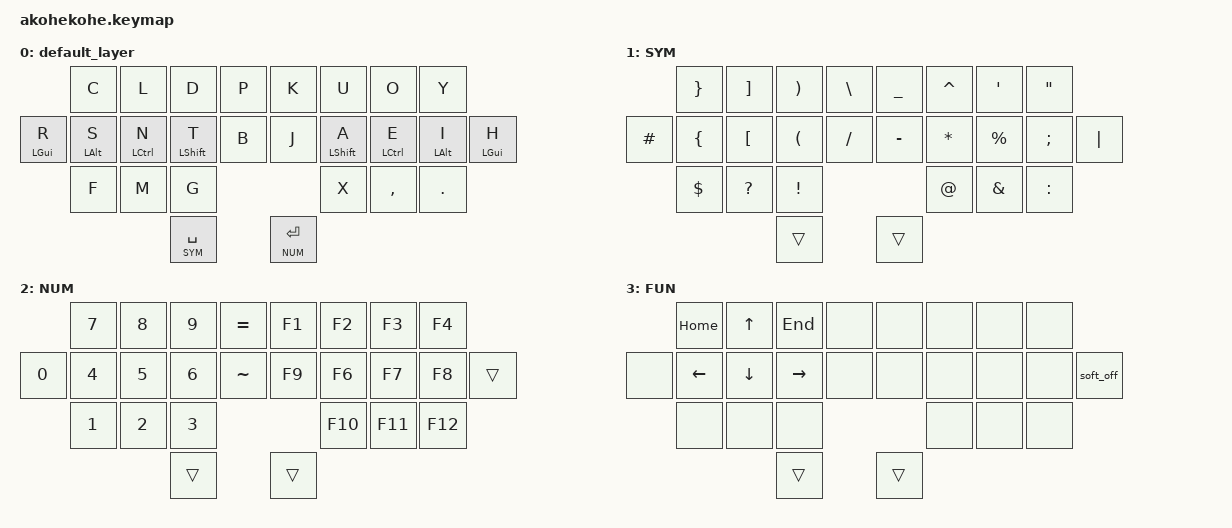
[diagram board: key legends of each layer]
#include <behaviors.dtsi>
#include <dt-bindings/zmk/keys.h>

/* Layers */

#define DEF 0
#define SYM 1
#define NUM 2
#define FUN 3

/* Shortcuts */

#define CUT LC(X)
#define COPY LC(C)
#define PASTE LC(V)
#define UNDO LC(Z)
#define ALL LC(A)
#define TOP LC(HOME)
#define BTM LC(END)

/* Behavior Settings */

&mt {
    quick-tap-ms = <100>;
    global-quick-tap;
    flavor = "tap-preferred";
    tapping-term-ms = <250>;
};

&lt {
    quick-tap-ms = <200>;
    flavor = "balanced";
    tapping-term-ms = <200>;
};

&sk {
    release-after-ms = <250>;
    quick-release;
};

&sl { release-after-ms = <250>; };

/ {
    conditional_layers {
        compatible = "zmk,conditional-layers";

        tri_layer {
            if-layers = <SYM NUM>;
            then-layer = <FUN>;
        };
    };

    combos {
        compatible = "zmk,combos";

        /*            AKOHEKOHE KEY POSITIONS

                 0   1   2   3      4   5   6   7
            8    9  10  11  12      13  14  15  16  17
                18  19  20              21  22  23
                            24         25              */

        /* Letters */

        v {
            key-positions = <0 1>;
            bindings = <&kp V>;
            layers = <0>;
        };

        q {
            key-positions = <1 2>;
            bindings = <&kp Q>;
            layers = <0>;
        };

        z {
            key-positions = <18 19>;
            bindings = <&kp Z>;
            layers = <0>;
        };

        w {
            key-positions = <9 10>;
            bindings = <&kp W>;
            layers = <0>;
        };

        /* Brackets */

        lbrc {
            key-positions = <0 9>;
            bindings = <&kp LEFT_BRACE>;
            layers = <0>;
        };

        rbrc {
            key-positions = <7 16>;
            bindings = <&kp RIGHT_BRACE>;
            layers = <0>;
        };

        lbkt {
            key-positions = <1 10>;
            bindings = <&kp LEFT_BRACKET>;
            layers = <0>;
        };

        rbkt {
            key-positions = <6 15>;
            bindings = <&kp RIGHT_BRACKET>;
            layers = <0>;
        };

        lpar {
            key-positions = <2 11>;
            bindings = <&kp LEFT_PARENTHESIS>;
            layers = <0>;
        };

        rpar {
            key-positions = <5 14>;
            bindings = <&kp RIGHT_PARENTHESIS>;
            layers = <0>;
        };

        less_than {
            key-positions = <11 20>;
            bindings = <&kp LESS_THAN>;
            layers = <0>;
        };

        greater_than {
            key-positions = <14 21>;
            bindings = <&kp GREATER_THAN>;
            layers = <0>;
        };

        /* Convenience */

        del {
            key-positions = <4 5>;
            bindings = <&kp DEL>;
            layers = <0>;
        };

        esc {
            key-positions = <4 13>;
            bindings = <&kp ESC>;
            layers = <0>;
        };

        ins {
            key-positions = <5 6>;
            bindings = <&kp INS>;
            layers = <0>;
        };

        bpsc {
            key-positions = <6 7>;
            bindings = <&kp BACKSPACE>;
            layers = <0>;
        };

        tab {
            key-positions = <0 8>;
            bindings = <&kp TAB>;
            layers = <0>;
        };

        quote {
            key-positions = <16 23>;
            bindings = <&kp SQT>;
            layers = <0>;
        };

        pscn {
            key-positions = <22 23>;
            bindings = <&kp PRINTSCREEN>;
            layers = <0>;
        };

        plus {
            key-positions = <3 12>;
            bindings = <&kp PLUS>;
            layers = <2>;
        };
    };

    keymap {
        compatible = "zmk,keymap";

        default_layer {
            bindings = <
                  &kp C           &kp L        &kp D             &kp P        &kp K  &kp U             &kp O        &kp Y
&mt LEFT_GUI R    &mt LEFT_ALT S  &mt LCTRL N  &mt LEFT_SHIFT T  &kp B        &kp J  &mt LEFT_SHIFT A  &mt LCTRL E  &mt LEFT_ALT I  &mt LEFT_GUI H
                  &kp F           &kp M        &kp G                                 &kp X             &kp COMMA    &kp DOT
                                                       &lt SYM SPACE    &lt NUM ENTER
            >;
        };

        sym_layer {
            display-name = "SYM";
            bindings = <
          &kp RIGHT_BRACE  &kp RIGHT_BRACKET  &kp RIGHT_PARENTHESIS  &kp BACKSLASH        &kp UNDER  &kp CARET    &kp SQT      &kp DOUBLE_QUOTES
&kp HASH  &kp LEFT_BRACE   &kp LEFT_BRACKET   &kp LEFT_PARENTHESIS   &kp SLASH            &kp MINUS  &kp ASTRK    &kp PERCENT  &kp SEMICOLON      &kp PIPE
          &kp DOLLAR       &kp QUESTION       &kp EXCLAMATION                                        &kp AT_SIGN  &kp AMPS     &kp COLON
                                                                             &trans    &trans
            >;
        };

        num_layer {
            display-name = "NUM";
            bindings = <
         &kp N7  &kp N8  &kp N9  &kp EQUAL        &kp F1  &kp F2   &kp F3   &kp F4
&kp N0   &kp N4  &kp N5  &kp N6  &kp TILDE        &kp F9  &kp F6   &kp F7   &kp F8   &trans
         &kp N1  &kp N2  &kp N3                           &kp F10  &kp F11  &kp F12
                                        &trans    &trans
            >;
        };

        fun_layer {
            display-name = "FUN";
            bindings = <
        &kp HOME  &kp UP    &kp END    &none        &none  &none  &none  &none
&none   &kp LEFT  &kp DOWN  &kp RIGHT  &none        &none  &none  &none  &none  &soft_off
        &none     &none     &none                          &none  &none  &none
                                        &trans    &trans
            >;
        };
    };
};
